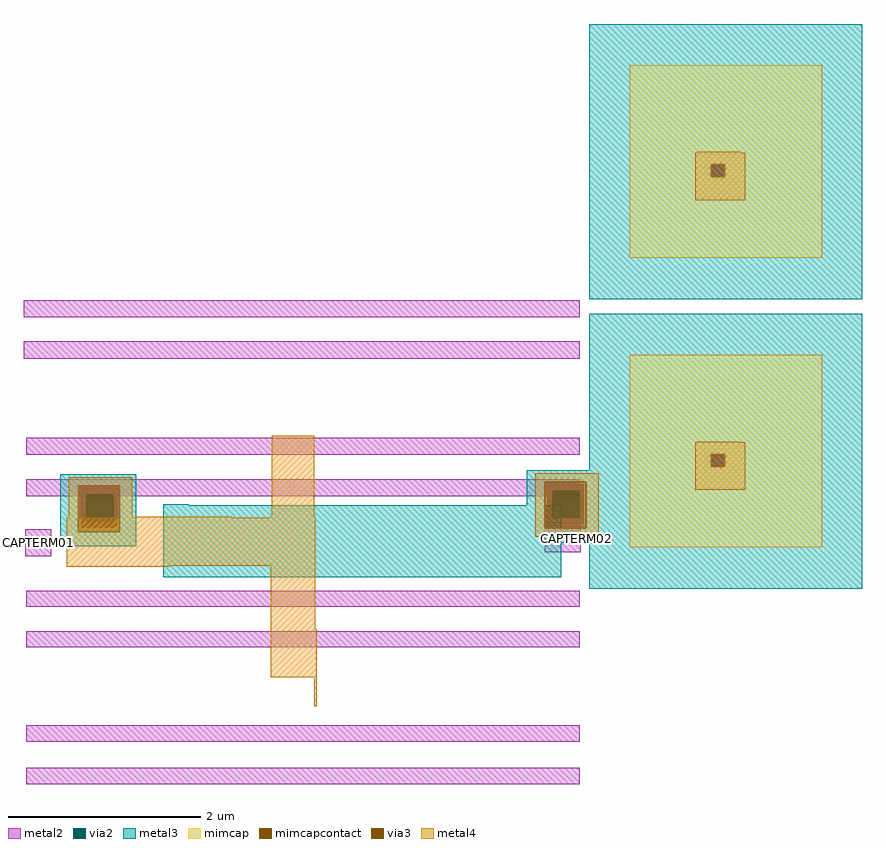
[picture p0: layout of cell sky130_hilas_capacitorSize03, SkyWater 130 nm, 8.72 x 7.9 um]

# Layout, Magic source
magic
tech sky130A
<< metal2 >>
rect 0 485 578 503
rect 0 442 578 460
rect 3 342 578 360
rect 3 299 578 317
rect 2 237 29 265
rect 542 241 579 269
rect 3 184 578 201
rect 3 142 578 159
rect 3 44 578 61
rect 3 0 578 17
<< metal3 >>
rect 145 290 172 291
rect 145 215 559 290
<< metal4 >>
rect 258 278 302 362
rect 116 277 217 278
rect 257 277 303 278
rect 45 227 303 277
rect 45 226 152 227
rect 257 161 303 227
rect 257 111 305 161
rect 302 81 305 111
use sky130_hilas_CapModule01  sky130_hilas_CapModule01_0
transform 1 0 588 0 1 203
box 0 0 284 286
use sky130_hilas_CapModule01  sky130_hilas_CapModule01_1
transform 1 0 588 0 1 504
box 0 0 284 286
use sky130_hilas_m22m4  sky130_hilas_m22m4_1
transform 1 0 523 0 1 251
box 0 0 79 75
use sky130_hilas_m22m4  sky130_hilas_m22m4_0
transform 1 0 38 0 1 247
box 0 0 79 75
<< labels >>
rlabel metal2 2 237 9 265 0 CAPTERM01
port 2 nsew analog default
rlabel metal2 571 241 579 269 0 CAPTERM02
port 1 nsew analog default
<< properties >>
string LEFsite unithd
string LEFclass CORE
string LEFsymmetry X Y R90
<< end >>

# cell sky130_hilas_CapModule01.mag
magic
tech sky130A
<< metal3 >>
rect 0 0 284 286
<< mimcap >>
rect 42 140 242 243
rect 42 127 127 140
rect 141 127 242 140
rect 42 43 242 127
<< mimcapcontact >>
rect 127 127 141 140
<< metal4 >>
rect 112 152 157 153
rect 110 140 162 152
rect 110 127 127 140
rect 141 127 162 140
rect 110 103 162 127
<< properties >>
string LEFsite unithd
string LEFclass CORE
string LEFsymmetry X Y R90
<< end >>

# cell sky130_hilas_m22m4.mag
magic
tech sky130A
<< metal2 >>
rect 22 54 59 60
rect 22 26 27 54
rect 55 26 59 54
rect 22 20 59 26
<< via2 >>
rect 27 26 55 54
<< metal3 >>
rect 0 63 79 75
rect 0 15 19 63
rect 62 15 79 63
rect 0 0 79 15
<< via3 >>
rect 19 54 62 63
rect 19 26 27 54
rect 27 26 55 54
rect 55 26 62 54
rect 19 15 62 26
<< metal4 >>
rect 9 63 75 72
rect 9 15 19 63
rect 62 15 75 63
rect 9 6 75 15
<< properties >>
string LEFsite unithd
string LEFclass CORE
string LEFsymmetry X Y R90
<< end >>
